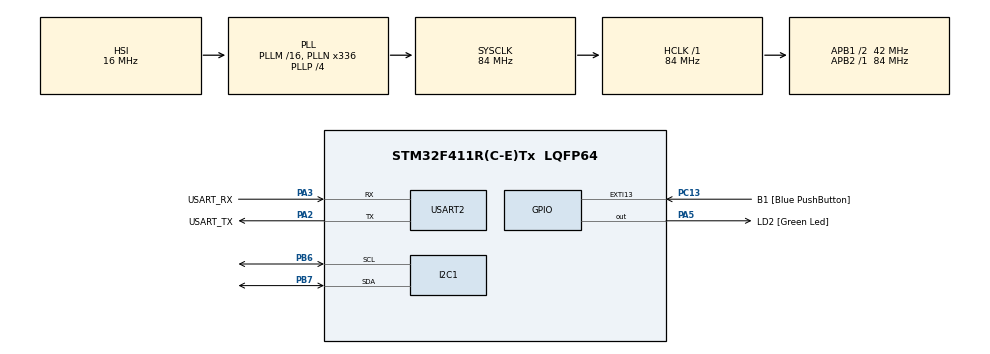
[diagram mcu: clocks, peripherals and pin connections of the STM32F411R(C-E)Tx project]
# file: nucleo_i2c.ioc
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Mcu.Family=STM32F4
Mcu.Name=STM32F411R(C-E)Tx
Mcu.Package=LQFP64
NVIC.I2C1_ER_IRQn=true\:0\:0\:false\:false\:true\:true\:true
NVIC.I2C1_EV_IRQn=true\:0\:0\:false\:false\:true\:true\:true
NVIC.PriorityGroup=NVIC_PRIORITYGROUP_0
PA13.GPIO_Label=TMS
PA13.Mode=Serial_Wire
PA13.Signal=SYS_JTMS-SWDIO
PA14.GPIO_Label=TCK
PA14.Mode=Serial_Wire
PA14.Signal=SYS_JTCK-SWCLK
PA2.GPIO_Label=USART_TX
PA2.Mode=Asynchronous
PA2.Signal=USART2_TX
PA3.GPIO_Label=USART_RX
PA3.Mode=Asynchronous
PA3.Signal=USART2_RX
PA5.GPIO_Label=LD2 [Green Led]
PA5.Signal=GPIO_Output
PB3.GPIO_Label=SWO
PB3.Signal=SYS_JTDO-SWO
PB6.Mode=I2C
PB6.Signal=I2C1_SCL
PB7.Mode=I2C
PB7.Signal=I2C1_SDA
PC13-ANTI_TAMP.GPIO_Label=B1 [Blue PushButton]
PC13-ANTI_TAMP.GPIO_ModeDefaultEXTI=GPIO_MODE_IT_FALLING
PC13-ANTI_TAMP.Signal=GPXTI13
PC14-OSC32_IN.Mode=LSE-External-Oscillator
PC14-OSC32_IN.Signal=RCC_OSC32_IN
PC15-OSC32_OUT.Mode=LSE-External-Oscillator
PC15-OSC32_OUT.Signal=RCC_OSC32_OUT
PH0\ -\ OSC_IN.Mode=HSE-External-Clock-Source
PH0\ -\ OSC_IN.Signal=RCC_OSC_IN
PH1\ -\ OSC_OUT.Mode=HSE-External-Clock-Source
PH1\ -\ OSC_OUT.Signal=RCC_OSC_OUT
ProjectManager.HeapSize=0x200
ProjectManager.StackSize=0x400
ProjectManager.TargetToolchain=STM32CubeIDE
RCC.48MHZClocksFreq_Value=84000000
RCC.AHBFreq_Value=84000000
RCC.APB1CLKDivider=RCC_HCLK_DIV2
RCC.APB1Freq_Value=42000000
RCC.APB1TimFreq_Value=84000000
RCC.APB2Freq_Value=84000000
RCC.APB2TimFreq_Value=84000000
RCC.CortexFreq_Value=84000000
RCC.FLatency-AdvancedSettings=FLASH_LATENCY_2
RCC.HCLKFreq_Value=84000000
RCC.HSE_VALUE=8000000
RCC.HSI_VALUE=16000000
RCC.PLLN=336
RCC.PLLP=RCC_PLLP_DIV4
RCC.SYSCLKFreq_VALUE=84000000
RCC.SYSCLKSource=RCC_SYSCLKSOURCE_PLLCLK
RCC.VCOOutputFreq_Value=336000000
USART2.VirtualMode=VM_ASYNC
board=NUCLEO-F411RE

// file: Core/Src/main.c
/* USER CODE BEGIN Header */
/**
  ******************************************************************************
  * @file           : main.c
  * @brief          : Main program body
  ******************************************************************************
  * @attention
  *
  * <h2><center>&copy; Copyright (c) 2022 STMicroelectronics.
  * All rights reserved.</center></h2>
  *
  * This software component is licensed by ST under BSD 3-Clause license,
  * the "License"; You may not use this file except in compliance with the
  * License. You may obtain a copy of the License at:
  *                        opensource.org/licenses/BSD-3-Clause
  *
  ******************************************************************************
  */
/* USER CODE END Header */
#include "main.h"

I2C_HandleTypeDef hi2c1;

UART_HandleTypeDef huart2;

void SystemClock_Config(void);
static void MX_GPIO_Init(void);
static void MX_USART2_UART_Init(void);
static void MX_I2C1_Init(void);

int main(void)
{
  /* USER CODE BEGIN 1 */
	uint32_t i=0;
	uint8_t sec=0, min=0, hour=0, day=0, date=0, month=0, year=0;
  /* USER CODE END 1 */

  /* MCU Configuration--------------------------------------------------------*/

  /* Reset of all peripherals, Initializes the Flash interface and the Systick. */
  HAL_Init();

  /* Configure the system clock */
  SystemClock_Config();

  /* Initialize all configured peripherals */
  MX_GPIO_Init();
  MX_USART2_UART_Init();
  MX_I2C1_Init();

  /* Infinite loop */
  while (1)
  {

    /* USER CODE BEGIN 3 */

	  arrayBuffer[0] = 0;
	  	  I2C_WriteBuffer(hi2c1, (uint16_t) 0xD0, 1);

	  	  while(HAL_I2C_GetState(&hi2c1) != HAL_I2C_STATE_READY) {

	  	  }

	  	  I2C_ReadBuffer(hi2c1, (uint16_t) 0xD0, 7);

	  	  date = arrayBuffer[4];
	  	  date = RTC_convertFromDec(date);
	  	printf(((date/10)%10)+0x30, (date%10)+0x30);

	  	  year = arrayBuffer[6];
	  	  year = RTC_convertFromDec(year);
	  	printf(((year/10)%10)+0x30, (year%10)+0x30);

	  	  month = arrayBuffer[5];
	  	  month = RTC_convertFromDec(month);
	  	printf(((month/10)%10)+0x30, (month%10)+0x30);

	  	  day = arrayBuffer[3];
	  	  day = RTC_convertFromDec(day);
	  	printf(((day/10)%10)+0x30, (day%10)+0x30);

	  	  hour = arrayBuffer[2];
	  	  hour = RTC_convertFromDec(hour);
	  	printf(((hour/10)%10)+0x30, (hour%10)+0x30);

	  	  min = arrayBuffer[1];
	  	  min = RTC_convertFromDec(min);
	  	printf(((min/10)%10)+0x30, (min%10)+0x30);

	  	  sec = arrayBuffer[0];
	  	  sec = RTC_convertFromDec(sec);
	  	printf(((sec/10)%10)+0x30, (sec%10)+0x30);

	  	  HAL_Delay(1000);
	  	  HAL_GPIO_TogglePin(GPIOA, GPIO_PIN_5);
  }
  /* USER CODE END 3 */
}

void SystemClock_Config(void)
{
  RCC_OscInitTypeDef RCC_OscInitStruct = {0};
  RCC_ClkInitTypeDef RCC_ClkInitStruct = {0};

  /** Configure the main internal regulator output voltage
  */
  __HAL_RCC_PWR_CLK_ENABLE();
  __HAL_PWR_VOLTAGESCALING_CONFIG(PWR_REGULATOR_VOLTAGE_SCALE1);
  /** Initializes the RCC Oscillators according to the specified parameters
  * in the RCC_OscInitTypeDef structure.
  */
  RCC_OscInitStruct.OscillatorType = RCC_OSCILLATORTYPE_HSI;
  RCC_OscInitStruct.HSIState = RCC_HSI_ON;
  RCC_OscInitStruct.HSICalibrationValue = RCC_HSICALIBRATION_DEFAULT;
  RCC_OscInitStruct.PLL.PLLState = RCC_PLL_ON;
  RCC_OscInitStruct.PLL.PLLSource = RCC_PLLSOURCE_HSI;
  RCC_OscInitStruct.PLL.PLLM = 16;
  RCC_OscInitStruct.PLL.PLLN = 336;
  RCC_OscInitStruct.PLL.PLLP = RCC_PLLP_DIV4;
  RCC_OscInitStruct.PLL.PLLQ = 4;
  if (HAL_RCC_OscConfig(&RCC_OscInitStruct) != HAL_OK)
  {
    Error_Handler();
  }
  /** Initializes the CPU, AHB and APB buses clocks
  */
  RCC_ClkInitStruct.ClockType = RCC_CLOCKTYPE_HCLK|RCC_CLOCKTYPE_SYSCLK
                              |RCC_CLOCKTYPE_PCLK1|RCC_CLOCKTYPE_PCLK2;
  RCC_ClkInitStruct.SYSCLKSource = RCC_SYSCLKSOURCE_PLLCLK;
  RCC_ClkInitStruct.AHBCLKDivider = RCC_SYSCLK_DIV1;
  RCC_ClkInitStruct.APB1CLKDivider = RCC_HCLK_DIV2;
  RCC_ClkInitStruct.APB2CLKDivider = RCC_HCLK_DIV1;

  if (HAL_RCC_ClockConfig(&RCC_ClkInitStruct, FLASH_LATENCY_2) != HAL_OK)
  {
    Error_Handler();
  }
}

static void MX_I2C1_Init(void)
{

  hi2c1.Instance = I2C1;
  hi2c1.Init.ClockSpeed = 100000;
  hi2c1.Init.DutyCycle = I2C_DUTYCYCLE_2;
  hi2c1.Init.OwnAddress1 = 0;
  hi2c1.Init.AddressingMode = I2C_ADDRESSINGMODE_7BIT;
  hi2c1.Init.DualAddressMode = I2C_DUALADDRESS_DISABLE;
  hi2c1.Init.OwnAddress2 = 0;
  hi2c1.Init.GeneralCallMode = I2C_GENERALCALL_DISABLE;
  hi2c1.Init.NoStretchMode = I2C_NOSTRETCH_DISABLE;
  if (HAL_I2C_Init(&hi2c1) != HAL_OK)
  {
    Error_Handler();
  }

}

static void MX_USART2_UART_Init(void)
{

  huart2.Instance = USART2;
  huart2.Init.BaudRate = 115200;
  huart2.Init.WordLength = UART_WORDLENGTH_8B;
  huart2.Init.StopBits = UART_STOPBITS_1;
  huart2.Init.Parity = UART_PARITY_NONE;
  huart2.Init.Mode = UART_MODE_TX_RX;
  huart2.Init.HwFlowCtl = UART_HWCONTROL_NONE;
  huart2.Init.OverSampling = UART_OVERSAMPLING_16;
  if (HAL_UART_Init(&huart2) != HAL_OK)
  {
    Error_Handler();
  }

}

static void MX_GPIO_Init(void)
{
  GPIO_InitTypeDef GPIO_InitStruct = {0};

  /* GPIO Ports Clock Enable */
  __HAL_RCC_GPIOC_CLK_ENABLE();
  __HAL_RCC_GPIOH_CLK_ENABLE();
  __HAL_RCC_GPIOA_CLK_ENABLE();
  __HAL_RCC_GPIOB_CLK_ENABLE();

  /*Configure GPIO pin Output Level */
  HAL_GPIO_WritePin(LD2_GPIO_Port, LD2_Pin, GPIO_PIN_RESET);

  /*Configure GPIO pin : B1_Pin */
  GPIO_InitStruct.Pin = B1_Pin;
  GPIO_InitStruct.Mode = GPIO_MODE_IT_FALLING;
  GPIO_InitStruct.Pull = GPIO_NOPULL;
  HAL_GPIO_Init(B1_GPIO_Port, &GPIO_InitStruct);

  /*Configure GPIO pin : LD2_Pin */
  GPIO_InitStruct.Pin = LD2_Pin;
  GPIO_InitStruct.Mode = GPIO_MODE_OUTPUT_PP;
  GPIO_InitStruct.Pull = GPIO_NOPULL;
  GPIO_InitStruct.Speed = GPIO_SPEED_FREQ_LOW;
  HAL_GPIO_Init(LD2_GPIO_Port, &GPIO_InitStruct);

}

void Error_Handler(void)
{
  __disable_irq();
  while (1)
  {
  }
}

/************************ (C) COPYRIGHT STMicroelectronics *****END OF FILE****/
